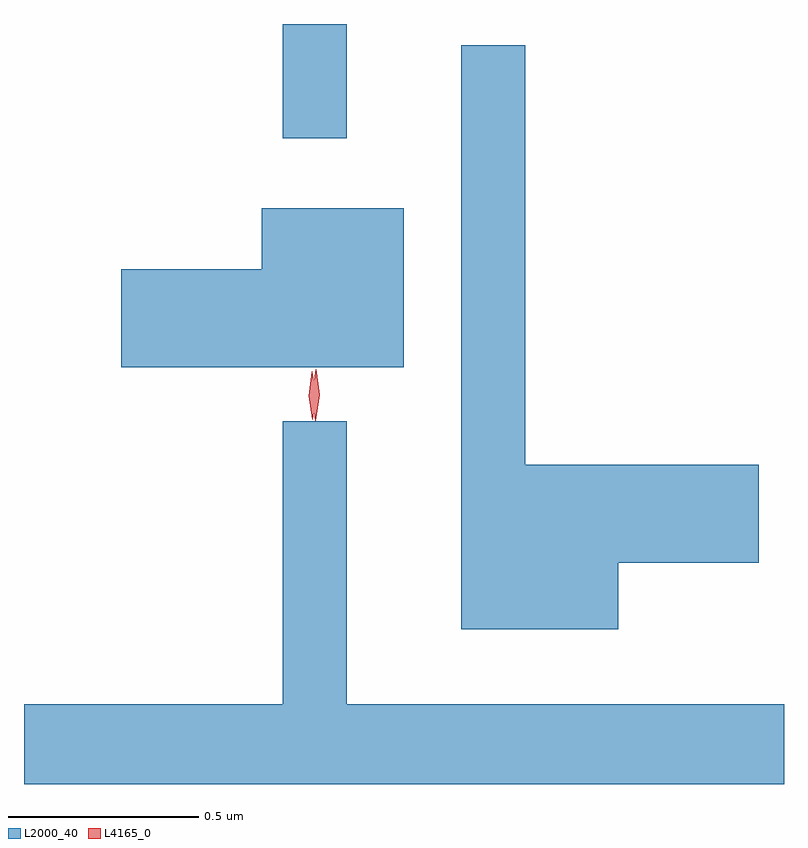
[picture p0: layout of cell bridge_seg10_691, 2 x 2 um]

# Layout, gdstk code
import gdstk
lib = gdstk.Library(unit=1e-6, precision=1e-09)
def R(c, l, rs):  # rectangles x0, y0, x1, y1
    for r in rs: c.add(gdstk.rectangle(r[:2], r[2:], *l))
def P(c, l, *ps):  # polygons
    for p in ps: c.add(gdstk.Polygon(p, *l))
L2000_40 = (2000, 40)
L4165_0 = (4165, 0)

bridge_seg10_691 = lib.new_cell('bridge_seg10_691')
R(bridge_seg10_691, L2000_40, [(907.251,2124.553,907.419,2124.854)])
P(bridge_seg10_691, L2000_40, [(908.134,2123.436),(908.504,2123.436),(908.504,2123.694),(907.889,2123.694),(907.889,2124.798),(907.721,2124.798),(907.721,2123.261),(908.134,2123.261)],
  [(907.569,2124.369),(907.196,2124.369),(907.196,2124.209),(906.826,2124.209),(906.826,2123.951),(907.569,2123.951)],
  [(908.57,2123.064),(907.419,2123.064),(907.419,2123.808),(907.251,2123.808),(907.251,2123.064),(906.57,2123.064),(906.57,2122.854),(908.57,2122.854)])
P(bridge_seg10_691, L4165_0, [(907.33,2123.813),(907.329,2123.814),(907.319,2123.876),(907.327,2123.939),(907.328,2123.94),(907.328,2123.939),(907.339,2123.876),(907.33,2123.814)],
  [(907.337,2123.81),(907.337,2123.81),(907.328,2123.878),(907.338,2123.946),(907.339,2123.946),(907.339,2123.946),(907.348,2123.878),(907.338,2123.81)])

lib.write_gds('bridge_seg10_691.gds')
